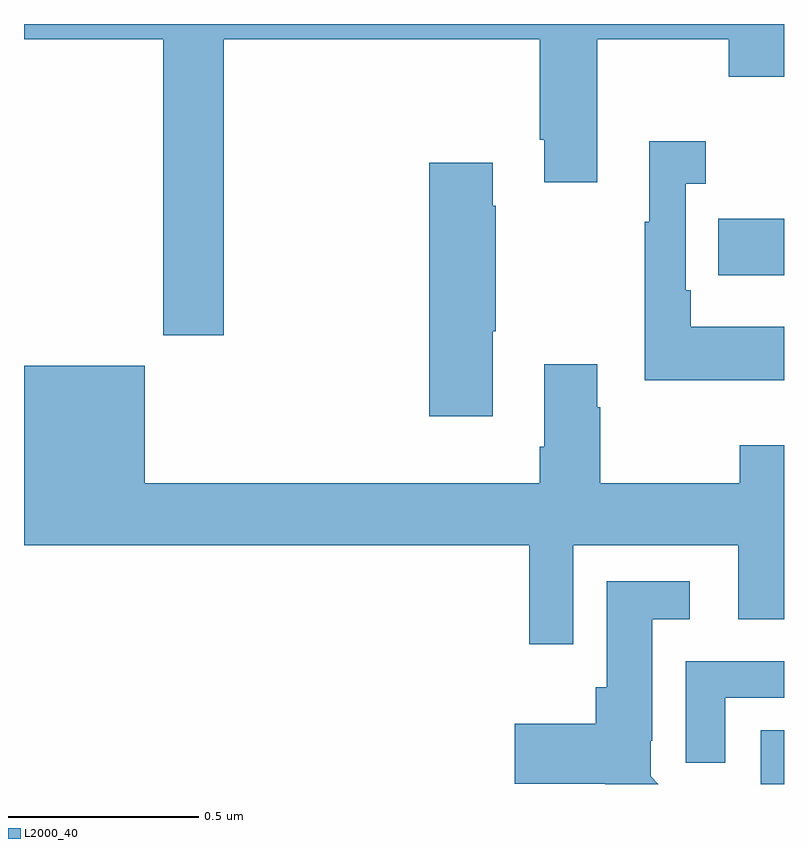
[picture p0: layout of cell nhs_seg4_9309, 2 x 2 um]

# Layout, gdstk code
import gdstk
lib = gdstk.Library(unit=1e-6, precision=1e-09)
def R(c, l, rs):  # rectangles x0, y0, x1, y1
    for r in rs: c.add(gdstk.rectangle(r[:2], r[2:], *l))
def P(c, l, *ps):  # polygons
    for p in ps: c.add(gdstk.Polygon(p, *l))
L2000_40 = (2000, 40)

nhs_seg4_9309 = lib.new_cell('nhs_seg4_9309')
R(nhs_seg4_9309, L2000_40, [(227.939,754.9,228,755.042), (227.827,756.239,228,756.387)])
P(nhs_seg4_9309, L2000_40, [(226.526,756.86),(227.357,756.86),(227.357,756.595),(227.369,756.595),(227.369,756.483),(227.509,756.483),(227.509,756.86),(227.854,756.86),(227.854,756.761),(228,756.761),(228,756.9),(226,756.9),(226,756.86),(226.366,756.86),(226.366,756.081),(226.526,756.081)],
  [(228,756.103),(227.755,756.103),(227.755,756.199),(227.742,756.199),(227.742,756.479),(227.794,756.479),(227.794,756.592),(227.645,756.592),(227.645,756.379),(227.634,756.379),(227.634,755.963),(228,755.963)],
  [(227.233,756.091),(227.241,756.091),(227.241,756.422),(227.233,756.422),(227.233,756.535),(227.066,756.535),(227.066,755.868),(227.233,755.868)],
  [(227.445,755.528),(227.879,755.528),(227.879,755.334),(228,755.334),(228,755.791),(227.884,755.791),(227.884,755.692),(227.517,755.692),(227.517,755.891),(227.509,755.891),(227.509,756.004),(227.369,756.004),(227.369,755.788),(227.357,755.788),(227.357,755.692),(226.318,755.692),(226.318,756.001),(226,756.001),(226,755.528),(227.329,755.528),(227.329,755.268),(227.445,755.268)],
  [(227.649,754.92),(227.649,755.014),(227.653,755.014),(227.653,755.333),(227.752,755.333),(227.752,755.434),(227.534,755.434),(227.534,755.154),(227.504,755.154),(227.504,755.059),(227.292,755.059),(227.292,754.901),(227.529,754.901),(227.53,754.9),(227.669,754.9)],
  [(227.845,755.127),(228,755.127),(228,755.223),(227.741,755.223),(227.741,754.956),(227.845,754.956)])

lib.write_gds('nhs_seg4_9309.gds')
